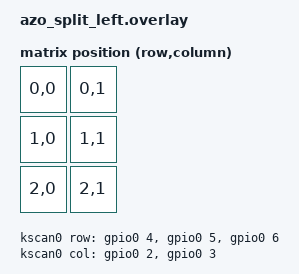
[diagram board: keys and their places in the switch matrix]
#include <dt-bindings/zmk/matrix_transform.h>

/ {
    chosen {
        zmk,kscan = &kscan0;
        zmk,matrix_transform = &default_transform;
    };

    default_transform: keymap_transform_0 {
        compatible = "zmk,matrix-transform";
        columns = <2>;
        rows = <3>;
        map = <
            RC(0,0) RC(0,1)
            RC(1,0) RC(1,1)
            RC(2,0) RC(2,1)
        >;
    };

    kscan0: kscan_0 {
        compatible = "zmk,kscan-gpio-matrix";
        label = "KSCAN";
        diode-direction = "col2row";

        col-gpios
            = <&gpio0 2 GPIO_ACTIVE_HIGH>
            , <&gpio0 3 GPIO_ACTIVE_HIGH>
            ;

        row-gpios
            = <&gpio0 4 (GPIO_ACTIVE_HIGH | GPIO_PULL_DOWN)>
            , <&gpio0 5 (GPIO_ACTIVE_HIGH | GPIO_PULL_DOWN)>
            , <&gpio0 6 (GPIO_ACTIVE_HIGH | GPIO_PULL_DOWN)>
            ;
    };
}; 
